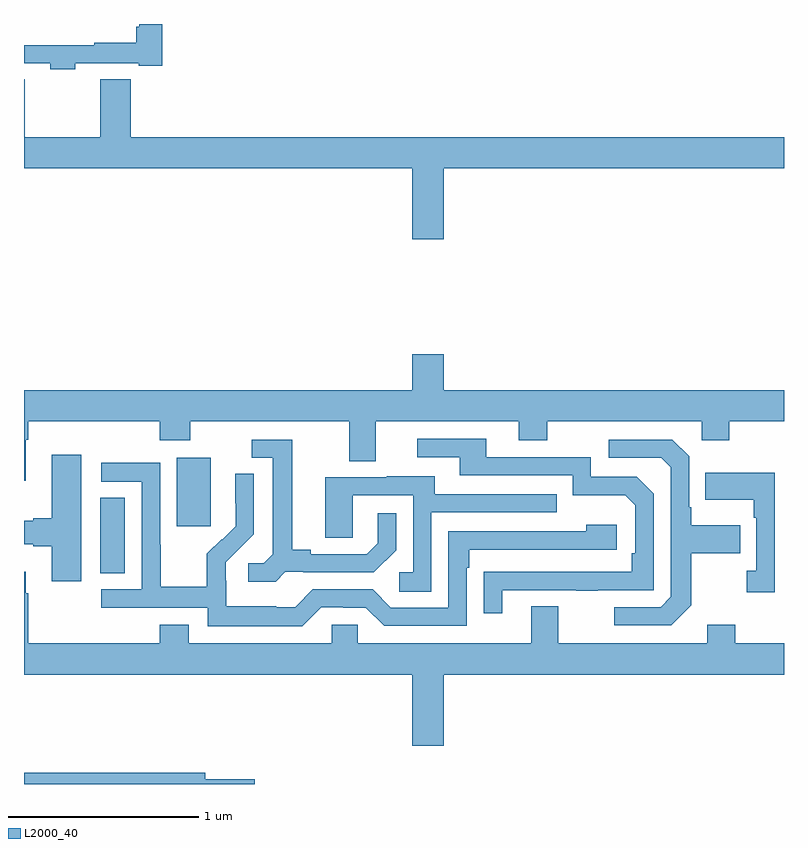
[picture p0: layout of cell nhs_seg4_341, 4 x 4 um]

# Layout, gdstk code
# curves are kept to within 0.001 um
import gdstk
lib = gdstk.Library(unit=1e-6, precision=1e-09)
def R(c, l, rs):  # rectangles x0, y0, x1, y1
    for r in rs: c.add(gdstk.rectangle(r[:2], r[2:], *l))
def P(c, l, *ps):  # polygons
    for p in ps: c.add(gdstk.Polygon(p, *l))
L2000_40 = (2000, 40)

nhs_seg4_341 = lib.new_cell('nhs_seg4_341')
R(nhs_seg4_341, L2000_40, [(127.4,808.009,127.531,808.406), (127.805,808.257,127.984,808.618)])
P(nhs_seg4_341, L2000_40, [(127.269,810.693),(127.604,810.693),(127.604,810.681),(127.727,810.681),(127.727,810.9),(127.606,810.9),(127.606,810.886),(127.591,810.886),(127.591,810.802),(127.369,810.802),(127.369,810.789),(127,810.789),(127,810.693),(127.137,810.693),(127.137,810.661),(127.269,810.661)],
  [(129.208,810.14),(131,810.14),(131,810.304),(127.562,810.304),(127.562,810.608),(127.402,810.608),(127.402,810.304),(127.004,810.304),(127.004,810.608),(127,810.608),(127,810.14),(129.044,810.14),(129.044,809.766),(129.208,809.766)],
  [(127.009,808.712),(127.022,808.712),(127.022,808.808),(127.715,808.808),(127.715,808.709),(127.875,808.709),(127.875,808.808),(128.711,808.808),(128.711,808.6),(128.851,808.6),(128.851,808.808),(129.605,808.808),(129.605,808.709),(129.753,808.709),(129.753,808.808),(130.566,808.808),(130.566,808.709),(130.713,808.709),(130.713,808.808),(131,808.808),(131,808.972),(129.208,808.972),(129.208,809.161),(129.044,809.161),(129.044,808.972),(127,808.972),(127,808.497),(127.009,808.497)],
  [(129.517,807.921),(129.907,807.921),(129.907,807.916),(130.019,807.916),(130.019,807.921),(130.314,807.921),(130.314,808.428),(130.224,808.518),(129.984,808.518),(129.984,808.62),(129.433,808.62),(129.433,808.716),(129.069,808.716),(129.069,808.62),(129.293,808.62),(129.293,808.524),(129.888,808.524),(129.888,808.421),(130.165,808.421),(130.218,808.368),(130.218,808.114),(130.198,808.114),(130.198,808.017),(129.421,808.016),(129.421,807.798),(129.517,807.798)],
  [(130.513,807.841),(130.513,808.114),(130.769,808.114),(130.769,808.261),(130.513,808.261),(130.513,808.357),(130.5,808.357),(130.5,808.626),(130.413,808.713),(130.077,808.713),(130.077,808.617),(130.353,808.617),(130.404,808.566),(130.404,807.885),(130.35,807.831),(130.107,807.831),(130.107,807.735),(130.407,807.735)],
  [(128.376,808.017),(128.47,808.017),(128.47,808.014),(128.842,808.014),(128.958,808.13),(128.958,808.324),(128.861,808.324),(128.861,808.167),(128.804,808.11),(128.509,808.11),(128.509,808.133),(128.413,808.133),(128.413,808.713),(128.199,808.713),(128.199,808.617),(128.309,808.617),(128.309,808.109),(128.262,808.062),(128.181,808.062),(128.181,807.965),(128.324,807.965)],
  [(127.3,808.633),(127.145,808.633),(127.145,808.298),(127.049,808.298),(127.049,808.285),(127,808.285),(127,808.163),(127.049,808.163),(127.049,808.151),(127.145,808.151),(127.145,807.966),(127.3,807.966)],
  [(128.565,807.831),(128.681,807.831),(128.681,807.828),(128.799,807.828),(128.895,807.732),(129.33,807.732),(129.33,808.037),(129.343,808.037),(129.343,808.134),(130.12,808.134),(130.12,808.264),(129.959,808.264),(129.959,808.23),(129.234,808.23),(129.234,807.828),(128.931,807.828),(128.835,807.924),(128.52,807.924),(128.427,807.831),(128.327,807.831),(128.327,807.835),(128.064,807.835),(128.064,807.969),(128.062,807.969),(128.062,808.066),(128.208,808.214),(128.208,808.532),(128.112,808.532),(128.112,808.378),(128.114,808.378),(128.114,808.256),(128.043,808.185),(128.04,808.188),(127.963,808.111),(127.963,807.937),(127.719,807.937),(127.719,808.16),(127.716,808.16),(127.716,808.59),(127.407,808.59),(127.407,808.491),(127.62,808.491),(127.62,807.924),(127.407,807.924),(127.407,807.828),(127.968,807.828),(127.968,807.731),(128.465,807.731)],
  [(130.952,808.537),(130.585,808.537),(130.585,808.397),(130.842,808.397),(130.842,808.301),(130.854,808.301),(130.854,808.022),(130.803,808.022),(130.803,807.909),(130.952,807.909)],
  [(129.144,808.329),(129.803,808.329),(129.803,808.425),(129.163,808.425),(129.163,808.519),(128.909,808.519),(128.909,808.515),(128.585,808.515),(128.585,808.195),(128.73,808.195),(128.73,808.419),(129.048,808.419),(129.048,808.014),(128.976,808.014),(128.976,807.913),(129.144,807.913)],
  [(129.208,807.476),(131,807.476),(131,807.64),(130.743,807.64),(130.743,807.739),(130.595,807.739),(130.595,807.64),(129.811,807.64),(129.811,807.835),(129.671,807.835),(129.671,807.64),(128.757,807.64),(128.757,807.738),(128.619,807.738),(128.619,807.64),(127.867,807.64),(127.867,807.739),(127.715,807.739),(127.715,807.64),(127.022,807.64),(127.022,807.905),(127.009,807.905),(127.009,808.018),(127,808.018),(127,807.476),(129.044,807.476),(129.044,807.102),(129.208,807.102)],
  [(128.215,806.924),(127.954,806.924),(127.954,806.96),(127,806.96),(127,806.9),(128.215,806.9)])

lib.write_gds('nhs_seg4_341.gds')
